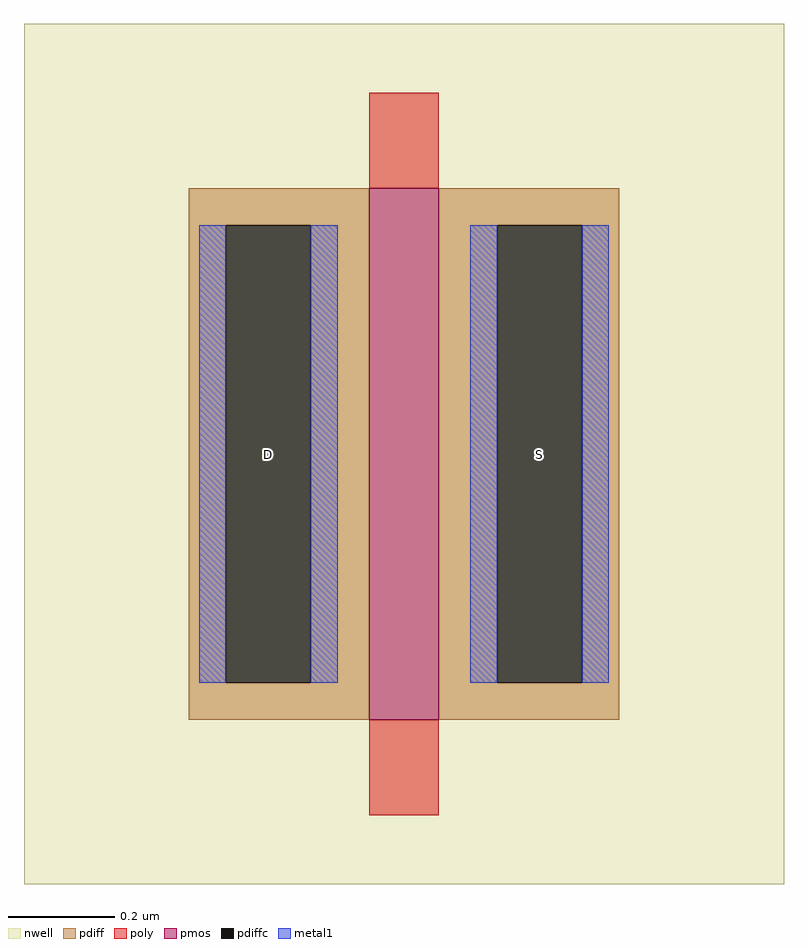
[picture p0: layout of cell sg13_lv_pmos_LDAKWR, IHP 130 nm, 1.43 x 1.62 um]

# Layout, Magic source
magic
tech ihp-sg13g2
magscale 1 2
<< nwell >>
rect -143 -162 143 162
<< pmos >>
rect -13 -100 13 100
<< pdiff >>
rect -81 86 -13 100
rect -81 -86 -67 86
rect -35 -86 -13 86
rect -81 -100 -13 -86
rect 13 86 81 100
rect 13 -86 35 86
rect 67 -86 81 86
rect 13 -100 81 -86
<< pdiffc >>
rect -67 -86 -35 86
rect 35 -86 67 86
<< poly >>
rect -13 100 13 136
rect -13 -136 13 -100
<< metal1 >>
rect -77 -86 -67 86
rect -35 -86 -25 86
rect 25 -86 35 86
rect 67 -86 77 86
<< labels >>
rlabel pdiffc -51 0 -51 0 0 D
port 1 nsew
rlabel pdiffc 51 0 51 0 0 S
port 2 nsew
<< properties >>
string gencell sg13_lv_pmos
string library sg13g2
string parameters w 1 l 0.13 m 1 nf 1 diffcov 100 polycov 100 guard 0 glc 1 grc 1 gtc 1 gbc 1 tbcov 100 rlcov 100 topc 0 botc 0 poverlap 0 doverlap 1 lmin 0.13 wmin 0.15 class mosfet compatible {sg13_lv_pmos sg13_hv_pmos} full_metal 1 conn_gates 0 gate_ring 0 ccols 1 viasrc 0 viadrn 0 viagate 0 viagb 0 viagr 0 viagl 0 viagt 0 doports 1
<< end >>
